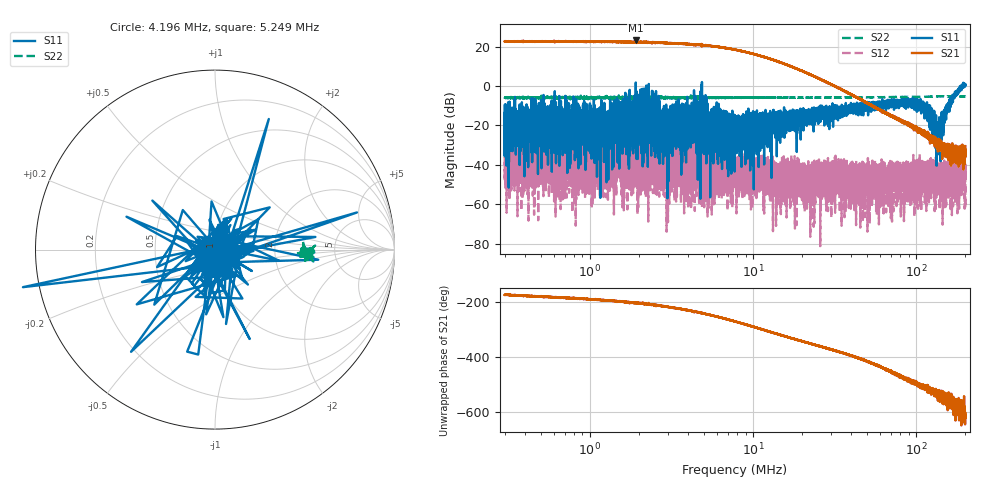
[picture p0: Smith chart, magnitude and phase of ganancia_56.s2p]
# Hz S DB R 50
! CMT, M5065, 19127446, 24.2.4/2
! Date: 11/1/2024 4:48:41 PM
! Data: Format (Calibration Info)
! Freq	S11:dB/Ang(F2)	S21:dB/Ang(F2)	S12:dB/Ang(F2)	S22:dB/Ang(F2)
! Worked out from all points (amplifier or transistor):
!   9000 points, 300 kHz to 200 MHz, reference 50 ohm
!   highest |S21| = 23.2 dB at 1.91 MHz (marker M1)
!   |S21| within 3 dB of that: start of sweep to 4.858 MHz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
!   unconditionally stable (mu >= 1): 5.115 MHz to 185 MHz; 185.2 MHz to 188.8 MHz; 190.1054 MHz to 190.8556 MHz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
!   at 886.8 kHz: K = 5.45, MAG = 24.0 dB, |S12| = -45.9 dB
!   at 7.749 MHz: K = 2.01, MAG = 19.8 dB, |S12| = -32.6 dB
!   at 200 MHz: K = -254.12, MSG = 5.1 dB, |S12| = -40.7 dB
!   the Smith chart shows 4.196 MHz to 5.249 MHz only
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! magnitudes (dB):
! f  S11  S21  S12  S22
! 300 kHz  -14.7  22.7  -46.7  -5.8
! 311 kHz  -13.9  22.6  -37.2  -5.7
! 332.2 kHz  -19.8  22.7  -45.5  -5.9
! 886.8 kHz  -26.8  22.7  -45.9  -5.9
! 1.278 MHz  -29.2  22.6  -50.9  -5.9
! 1.428 MHz  -17.7  22.5  -46.1  -6.0
! 1.577 MHz  -28.9  22.4  -41.7  -5.8
! 1.91 MHz  1.8  23.2  -43.2  -6.0
! 2.621 MHz  -11.7  22.0  -39.2  -5.7
! 3.036 MHz  -24.7  21.9  -48.6  -5.8
! 3.415 MHz  -9.3  21.5  -45.4  -5.8
! 4.325 MHz  -18.1  21.2  -41.2  -6.0
! 5.554 MHz  -21.4  20.4  -36.0  -5.7
! 5.935 MHz  -18.7  20.0  -38.9  -6.0
! 7.749 MHz  -28.9  18.5  -32.6  -5.9
! 22.91 MHz  -15.5  5.3  -67.8  -5.8
! 24.41 MHz  -16.1  4.6  -48.4  -5.8
! 67.71 MHz  -10.0  -14.2  -47.1  -5.6
! 112.1 MHz  -13.0  -24.5  -51.1  -5.4
! 136.8 MHz  -25.1  -26.8  -53.8  -5.2
! 165 MHz  -7.9  -34.3  -49.3  -5.2
! 200 MHz  0.8  -30.5  -40.7  -5.3
